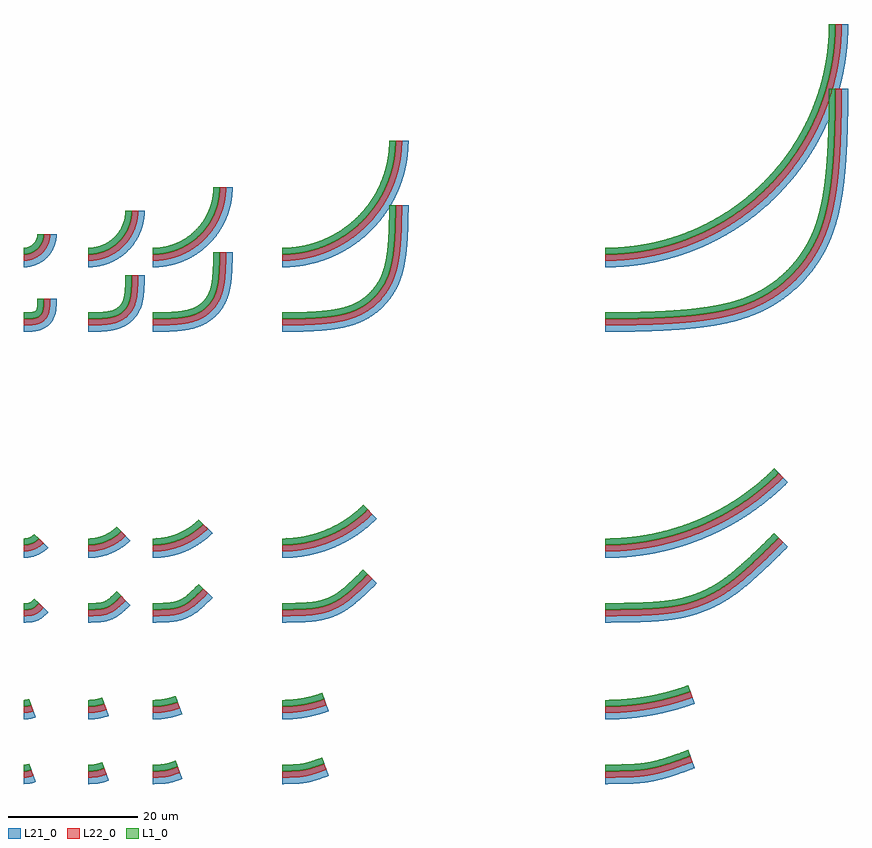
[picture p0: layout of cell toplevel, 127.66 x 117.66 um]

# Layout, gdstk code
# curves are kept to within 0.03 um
import gdstk
lib = gdstk.Library(unit=1e-6, precision=1e-09)
def P(c, l, *ps):  # polygons
    for p in ps: c.add(gdstk.Polygon(p, *l))
L1_0 = (1, 0)
L21_0 = (21, 0)
L22_0 = (22, 0)

unnamed = lib.new_cell('Unnamed')
P(unnamed, L1_0, [(0.561,1.552),(0,1.5),(0,0.5),(0.597,0.528),(1.168,0.706),(0.826,1.646)])
P(unnamed, L21_0, [(0.561,1.552),(0,1.5),(0,-1.5),(0.944,-1.441),(1.852,-1.173),(0.826,1.646)])
P(unnamed, L22_0, [(0.878,0.604),(0.467,0.511),(0,0.5),(0,-0.5),(0.771,-0.457),(1.51,-0.234),(1.168,0.706)])

wg_bend = lib.new_cell('WG bend')
P(wg_bend, L1_0, [(0,1.5),(0.387,1.531),(0.826,1.646),(1.168,0.706),(0.548,0.544),(0,0.5)])
P(wg_bend, L21_0, [(0,1.5),(0.387,1.531),(0.826,1.646),(1.852,-1.173),(1.012,-1.405),(0,-1.5)])
P(wg_bend, L22_0, [(0,0.5),(0.548,0.544),(1.168,0.706),(1.51,-0.234),(0.708,-0.443),(0,-0.5)])

unnamed002 = lib.new_cell('Unnamed002')
P(unnamed002, L1_0, [(1.598,1.682),(0.963,1.528),(0,1.5),(0,0.5),(1.281,0.564),(2.506,0.942),(2.164,1.882)])
P(unnamed002, L21_0, [(1.598,1.682),(0.963,1.528),(0,1.5),(0,-1.5),(0.996,-1.48),(1.628,-1.406),(2.308,-1.241),(3.19,-0.937),(2.164,1.882)])
P(unnamed002, L22_0, [(1.915,0.733),(1.079,0.534),(0,0.5),(0,-0.5),(0.881,-0.485),(1.455,-0.421),(2.015,-0.285),(2.848,0.002),(2.506,0.942)])

wg_bend003 = lib.new_cell('WG bend003')
P(wg_bend003, L1_0, [(0,1.5),(1.139,1.603),(2.164,1.882),(2.506,0.942),(1.226,0.603),(0,0.5)])
P(wg_bend003, L21_0, [(0,1.5),(1.139,1.603),(2.164,1.882),(3.191,-0.937),(2.385,-1.19),(1.56,-1.369),(0.843,-1.462),(0,-1.5)])
P(wg_bend003, L22_0, [(0,0.5),(1.226,0.603),(2.506,0.942),(2.849,0.002),(2.13,-0.223),(1.393,-0.383),(0,-0.5)])

unnamed004 = lib.new_cell('Unnamed004')
P(unnamed004, L1_0, [(2.788,1.863),(2.174,1.669),(1.636,1.56),(0,1.5),(0,0.5),(1.256,0.521),(1.965,0.6),(2.658,0.768),(3.845,1.178),(3.503,2.118)])
P(unnamed004, L21_0, [(2.788,1.863),(2.174,1.669),(1.636,1.56),(0,1.5),(0,-1.5),(1.361,-1.476),(2.312,-1.37),(3.158,-1.17),(4.529,-0.701),(3.503,2.118)])
P(unnamed004, L22_0, [(3.114,0.918),(2.34,0.679),(1.68,0.557),(0,0.5),(0,-0.5),(1.388,-0.473),(2.138,-0.385),(2.95,-0.188),(4.187,0.238),(3.845,1.178)])

wg_bend005 = lib.new_cell('WG bend005')
P(wg_bend005, L1_0, [(0,1.5),(0.893,1.539),(1.691,1.64),(2.565,1.826),(3.503,2.118),(3.845,1.178),(2.91,0.883),(2.049,0.688),(0.98,0.543),(0,0.5)])
P(wg_bend005, L21_0, [(0,1.5),(0.893,1.539),(1.691,1.64),(2.565,1.826),(3.503,2.118),(4.529,-0.701),(3.427,-1.049),(2.3,-1.299),(1.154,-1.45),(0,-1.5)])
P(wg_bend005, L22_0, [(0,0.5),(0.98,0.543),(2.049,0.688),(2.91,0.883),(3.845,1.178),(4.187,0.238),(3.169,-0.083),(2.126,-0.314),(1.173,-0.444),(0,-0.5)])

unnamed006 = lib.new_cell('Unnamed006')
P(unnamed006, L1_0, [(5.172,2.229),(3.883,1.816),(2.884,1.612),(1.927,1.528),(0,1.5),(0,0.5),(1.8,0.522),(2.82,0.595),(3.84,0.775),(4.925,1.088),(6.523,1.65),(6.181,2.59)])
P(unnamed006, L21_0, [(5.172,2.229),(3.883,1.816),(2.884,1.612),(1.927,1.528),(0,1.5),(0,-1.5),(2.216,-1.462),(3.68,-1.298),(5.111,-0.951),(7.207,-0.229),(6.181,2.59)])
P(unnamed006, L22_0, [(5.502,1.285),(4.222,0.872),(3.026,0.622),(1.8,0.522),(0,0.5),(0,-0.5),(1.724,-0.481),(2.94,-0.398),(4.067,-0.199),(5.132,0.104),(6.865,0.71),(6.523,1.65)])

wg_bend007 = lib.new_cell('WG bend007')
P(wg_bend007, L1_0, [(0,1.5),(1.667,1.577),(3.229,1.791),(4.767,2.14),(6.181,2.59),(6.523,1.65),(5.125,1.201),(3.601,0.843),(2.149,0.621),(0.489,0.506),(0,0.5)])
P(wg_bend007, L21_0, [(0,1.5),(1.667,1.577),(3.229,1.791),(4.767,2.14),(6.181,2.59),(7.207,-0.229),(5.454,-0.782),(3.659,-1.18),(1.836,-1.42),(0,-1.5)])
P(wg_bend007, L22_0, [(0,0.5),(1.76,0.581),(3.312,0.79),(5.03,1.175),(6.523,1.65),(6.865,0.71),(5.394,0.238),(3.789,-0.139),(2.262,-0.372),(0.721,-0.487),(0,-0.5)])

unnamed008 = lib.new_cell('Unnamed008')
P(unnamed008, L1_0, [(11.041,3.113),(8.154,2.184),(6.11,1.758),(4.978,1.624),(3.919,1.557),(0,1.5),(0,0.5),(2.84,0.523),(4.896,0.614),(6.456,0.8),(7.928,1.095),(9.904,1.668),(13.216,2.83),(12.874,3.77)])
P(unnamed008, L21_0, [(11.041,3.113),(8.154,2.184),(6.11,1.758),(4.978,1.624),(3.919,1.557),(0,1.5),(0,-1.5),(4.484,-1.418),(5.789,-1.309),(7.208,-1.1),(8.61,-0.797),(9.784,-0.468),(13.901,0.951),(12.874,3.77)])
P(unnamed008, L22_0, [(11.373,2.17),(8.413,1.218),(7.342,0.963),(6.258,0.769),(5.065,0.628),(3.848,0.553),(0,0.5),(0,-0.5),(2.744,-0.479),(4.776,-0.398),(6.302,-0.235),(7.957,0.074),(10.32,0.752),(13.558,1.891),(13.216,2.83)])

wg_bend009 = lib.new_cell('WG bend009')
P(wg_bend009, L1_0, [(0,1.5),(1.738,1.54),(3.281,1.643),(4.722,1.797),(6.441,2.055),(8.053,2.371),(9.556,2.733),(11.227,3.213),(12.874,3.77),(13.217,2.83),(11.146,2.142),(8.654,1.481),(6.319,1.02),(3.862,0.693),(1.785,0.541),(0,0.5)])
P(wg_bend009, L21_0, [(0,1.5),(1.738,1.54),(3.281,1.643),(4.722,1.797),(6.441,2.055),(8.053,2.371),(9.556,2.733),(11.227,3.213),(12.874,3.77),(13.901,0.951),(12.122,0.35),(10.317,-0.169),(8.797,-0.537),(6.955,-0.901),(5.201,-1.166),(3.334,-1.363),(1.669,-1.466),(0,-1.5)])
P(wg_bend009, L22_0, [(0,0.5),(1.785,0.541),(3.368,0.647),(5.24,0.857),(6.808,1.104),(8.364,1.416),(9.906,1.791),(11.62,2.288),(13.217,2.83),(13.559,1.891),(11.142,1.098),(8.779,0.484),(6.382,0.017),(3.962,-0.302),(2.034,-0.448),(0,-0.5)])

unnamed010 = lib.new_cell('Unnamed010')
P(unnamed010, L1_0, [(1.208,1.752),(1.034,1.611),(0.854,1.537),(0,1.5),(0,0.5),(0.847,0.527),(1.331,0.641),(1.71,0.868),(2.371,1.482),(1.664,2.189)])
P(unnamed010, L21_0, [(1.208,1.752),(1.034,1.611),(0.854,1.537),(0,1.5),(0,-1.5),(1.222,-1.442),(2.096,-1.206),(2.88,-0.755),(3.786,0.068),(1.664,2.189)])
P(unnamed010, L22_0, [(1.873,1.005),(1.506,0.728),(1.145,0.578),(0.69,0.515),(0,0.5),(0,-0.5),(0.857,-0.476),(1.404,-0.388),(1.862,-0.215),(2.388,0.13),(3.078,0.775),(2.371,1.482)])

wg_bend011 = lib.new_cell('WG bend011')
P(wg_bend011, L1_0, [(0,1.5),(0.429,1.539),(0.901,1.679),(1.333,1.914),(1.664,2.189),(2.371,1.482),(1.827,1.041),(1.283,0.755),(0.697,0.573),(0,0.5)])
P(wg_bend011, L21_0, [(0,1.5),(0.429,1.539),(0.901,1.679),(1.333,1.914),(1.664,2.189),(3.786,0.068),(2.916,-0.636),(2.049,-1.092),(1.113,-1.383),(0,-1.5)])
P(wg_bend011, L22_0, [(0,0.5),(0.697,0.573),(1.283,0.755),(1.827,1.041),(2.371,1.482),(3.079,0.775),(2.466,0.266),(1.771,-0.124),(1.127,-0.352),(0.342,-0.487),(0,-0.5)])

unnamed012 = lib.new_cell('Unnamed012')
P(unnamed012, L1_0, [(3.674,2.622),(2.943,2.003),(2.272,1.672),(1.518,1.541),(0,1.5),(0,0.5),(1.284,0.524),(2.052,0.596),(2.669,0.751),(3.291,1.04),(3.937,1.514),(5.096,2.611),(4.389,3.318)])
P(unnamed012, L21_0, [(3.674,2.622),(2.943,2.003),(2.272,1.672),(1.518,1.541),(0,1.5),(0,-1.5),(1.237,-1.48),(2.239,-1.398),(3.036,-1.231),(3.618,-1.027),(4.308,-0.683),(4.856,-0.314),(5.514,0.238),(6.511,1.197),(4.389,3.318)])
P(unnamed012, L22_0, [(4.357,1.892),(3.458,1.144),(3.032,0.901),(2.576,0.72),(2.128,0.609),(1.596,0.544),(0,0.5),(0,-0.5),(1.333,-0.474),(2.208,-0.392),(2.999,-0.193),(3.69,0.116),(4.586,0.753),(5.803,1.904),(5.096,2.611)])

wg_bend013 = lib.new_cell('WG bend013')
P(wg_bend013, L1_0, [(0,1.5),(1.211,1.619),(1.841,1.779),(2.45,2.004),(3.449,2.546),(4.389,3.318),(5.096,2.611),(4.312,1.932),(3.439,1.373),(2.495,0.945),(1.499,0.657),(0.753,0.539),(0,0.5)])
P(wg_bend013, L21_0, [(0,1.5),(1.211,1.619),(1.841,1.779),(2.45,2.004),(3.449,2.546),(4.389,3.318),(6.511,1.197),(5.888,0.628),(5.015,-0.015),(4.287,-0.441),(3.524,-0.799),(2.615,-1.121),(1.796,-1.323),(0.962,-1.45),(0,-1.5)])
P(wg_bend013, L22_0, [(0,0.5),(0.753,0.539),(1.499,0.657),(2.137,0.824),(2.845,1.085),(3.439,1.373),(4.004,1.715),(4.536,2.106),(5.096,2.611),(5.804,1.904),(4.911,1.131),(4.01,0.546),(3.041,0.084),(1.916,-0.273),(0.965,-0.443),(0,-0.5)])

unnamed014 = lib.new_cell('Unnamed014')
P(unnamed014, L1_0, [(6.132,3.488),(5.339,2.774),(4.77,2.34),(4.212,2.022),(3.614,1.787),(3.061,1.652),(2.438,1.572),(0,1.5),(0,0.5),(1.747,0.528),(2.981,0.627),(3.819,0.804),(4.643,1.12),(5.243,1.455),(5.894,1.935),(7.821,3.74),(7.114,4.447)])
P(unnamed014, L21_0, [(6.132,3.488),(5.339,2.774),(4.77,2.34),(4.212,2.022),(3.614,1.787),(3.061,1.652),(2.438,1.572),(0,1.5),(0,-1.5),(2.57,-1.427),(3.43,-1.328),(4.254,-1.151),(5.016,-0.897),(5.746,-0.564),(6.436,-0.154),(7.163,0.389),(8.104,1.224),(9.236,2.325),(7.114,4.447)])
P(unnamed014, L22_0, [(6.82,2.762),(5.981,2.007),(5.414,1.569),(4.731,1.163),(4.006,0.863),(3.343,0.687),(2.526,0.576),(0,0.5),(0,-0.5),(1.786,-0.471),(3.118,-0.363),(4.101,-0.155),(5.075,0.218),(5.784,0.614),(6.529,1.162),(7.42,1.953),(8.528,3.033),(7.821,3.74)])

wg_bend015 = lib.new_cell('WG bend015')
P(wg_bend015, L1_0, [(0,1.5),(0.964,1.546),(2.006,1.702),(2.858,1.914),(3.85,2.266),(4.801,2.719),(5.553,3.171),(6.332,3.742),(7.114,4.447),(7.821,3.74),(6.734,2.786),(5.531,1.982),(4.322,1.379),(3.049,0.928),(1.635,0.621),(0.868,0.534),(0,0.5)])
P(wg_bend015, L21_0, [(0,1.5),(0.964,1.546),(2.006,1.702),(2.858,1.914),(3.85,2.266),(4.801,2.719),(5.553,3.171),(6.332,3.742),(7.114,4.447),(9.236,2.326),(8.483,1.629),(7.492,0.862),(6.629,0.307),(5.623,-0.228),(4.574,-0.673),(3.49,-1.025),(2.268,-1.302),(1.252,-1.44),(0,-1.5)])
P(wg_bend015, L22_0, [(0,0.5),(1.06,0.551),(2.111,0.703),(3.142,0.955),(4.144,1.305),(5.193,1.795),(6.105,2.337),(7.036,3.026),(7.821,3.74),(8.528,3.033),(7.426,2.057),(6.212,1.223),(4.809,0.5),(3.426,-0.003),(1.783,-0.368),(0.841,-0.471),(0,-0.5)])

unnamed016 = lib.new_cell('Unnamed016')
P(unnamed016, L1_0, [(11.03,5.204),(9.767,4.049),(8.884,3.336),(7.982,2.746),(7.116,2.317),(5.954,1.918),(4.628,1.673),(2.674,1.539),(0,1.5),(0,0.5),(3.032,0.552),(4.746,0.68),(6.21,0.951),(7.509,1.397),(8.73,2.026),(9.871,2.835),(11.328,4.11),(13.271,5.997),(12.564,6.704)])
P(unnamed016, L21_0, [(11.03,5.204),(9.767,4.049),(8.643,3.163),(7.595,2.539),(6.543,2.097),(5.527,1.817),(4.212,1.63),(2.463,1.532),(0,1.5),(0,-1.5),(3.573,-1.424),(4.745,-1.332),(5.804,-1.185),(6.836,-0.951),(7.852,-0.62),(8.834,-0.195),(9.771,0.318),(10.781,1.009),(11.923,1.948),(14.685,4.583),(12.564,6.704)])
P(unnamed016, L22_0, [(11.72,4.48),(10.42,3.292),(9.384,2.463),(8.476,1.876),(7.509,1.397),(6.21,0.951),(4.746,0.68),(3.032,0.552),(0,0.5),(0,-0.5),(2.854,-0.456),(4.863,-0.313),(6.36,-0.043),(7.089,0.17),(7.901,0.477),(9.158,1.116),(10.407,1.984),(11.767,3.153),(13.978,5.29),(13.271,5.997)])

wg_bend017 = lib.new_cell('WG bend017')
P(wg_bend017, L1_0, [(0,1.5),(1.477,1.561),(2.853,1.73),(4.301,2.028),(5.719,2.445),(7.602,3.208),(9.386,4.181),(11.047,5.352),(12.564,6.704),(13.271,5.997),(12.418,5.195),(11.593,4.508),(9.914,3.332),(9.073,2.838),(7.942,2.263),(7.047,1.873),(5.948,1.467),(4.543,1.058),(3.013,0.743),(1.463,0.557),(0,0.5)])
P(wg_bend017, L21_0, [(0,1.5),(1.845,1.596),(3.58,1.864),(5.279,2.302),(6.842,2.87),(8.427,3.625),(9.929,4.533),(11.335,5.585),(12.564,6.704),(14.686,4.583),(13.578,3.553),(12.399,2.607),(11.154,1.749),(9.85,0.984),(8.395,0.272),(7.092,-0.252),(5.861,-0.656),(4.395,-1.03),(3.228,-1.248),(2.157,-1.388),(0,-1.5)])
P(wg_bend017, L22_0, [(0,0.5),(1.657,0.573),(3.109,0.759),(4.732,1.106),(6.133,1.53),(7.942,2.263),(9.073,2.838),(9.914,3.332),(11.593,4.508),(12.418,5.195),(13.271,5.997),(13.978,5.29),(13.233,4.582),(12.291,3.785),(11.469,3.167),(10.443,2.483),(8.551,1.445),(7.518,0.985),(6.46,0.585),(4.884,0.113),(3.376,-0.21),(1.95,-0.404),(0.308,-0.498),(0,-0.5)])

unnamed018 = lib.new_cell('Unnamed018')
P(unnamed018, L1_0, [(23.186,9.408),(20.494,6.945),(19.348,5.995),(18.227,5.153),(17.295,4.537),(16.163,3.891),(15.158,3.402),(14.126,2.974),(12.891,2.555),(11.63,2.224),(10.302,1.975),(8.915,1.8),(5.322,1.576),(0,1.5),(0,0.5),(5.561,0.584),(7.706,0.694),(9.23,0.828),(10.678,1.022),(12.041,1.293),(13.367,1.655),(14.572,2.074),(16.19,2.783),(17.821,3.687),(19.257,4.664),(20.898,5.975),(23.579,8.401),(26.896,11.641),(26.189,12.348)])
P(unnamed018, L21_0, [(23.186,9.408),(20.494,6.945),(19.183,5.865),(18.144,5.095),(17.056,4.392),(15.914,3.763),(14.731,3.216),(13.6,2.784),(12.443,2.427),(11.266,2.146),(10.074,1.941),(8.596,1.769),(4.915,1.563),(0,1.5),(0,-1.5),(3.55,-1.469),(6.257,-1.39),(8.41,-1.258),(10.371,-1.047),(12.078,-0.749),(13.755,-0.318),(15.291,0.208),(16.782,0.848),(18.033,1.492),(19.239,2.217),(20.343,2.98),(21.48,3.859),(22.96,5.116),(24.42,6.446),(28.31,10.227),(26.189,12.348)])
P(unnamed018, L22_0, [(23.951,8.756),(21.228,6.258),(19.97,5.212),(18.89,4.397),(17.821,3.687),(16.801,3.098),(15.658,2.531),(14.572,2.074),(13.367,1.655),(12.041,1.293),(10.678,1.022),(9.23,0.828),(7.706,0.694),(5.561,0.584),(0,0.5),(0,-0.5),(5.494,-0.419),(7.666,-0.311),(9.448,-0.154),(10.95,0.053),(12.17,0.296),(13.566,0.67),(14.931,1.141),(16.632,1.886),(18.259,2.782),(19.752,3.787),(21.459,5.14),(24.116,7.533),(27.603,10.934),(26.896,11.641)])

wg_bend019 = lib.new_cell('WG bend019')
P(wg_bend019, L1_0, [(0,1.5),(1.637,1.536),(3.367,1.653),(5.089,1.851),(6.705,2.112),(8.215,2.422),(9.896,2.846),(11.372,3.289),(13.009,3.86),(14.97,4.66),(16.711,5.484),(18.324,6.35),(20.053,7.398),(21.645,8.483),(23.253,9.709),(24.864,11.086),(26.189,12.348),(26.896,11.641),(25.462,10.279),(23.958,8.993),(22.39,7.788),(20.678,6.611),(18.904,5.53),(17.163,4.592),(15.375,3.746),(13.453,2.958),(11.113,2.159),(8.726,1.514),(6.399,1.042),(4.048,0.716),(1.978,0.551),(0,0.5)])
P(wg_bend019, L21_0, [(0,1.5),(1.829,1.545),(3.558,1.671),(5.28,1.878),(7.178,2.202),(8.871,2.578),(10.544,3.032),(12.466,3.661),(14.173,4.319),(15.933,5.102),(17.395,5.839),(18.989,6.738),(20.537,7.715),(22.034,8.767),(23.552,9.953),(24.864,11.086),(26.189,12.348),(28.31,10.227),(26.723,8.723),(24.729,7.05),(22.803,5.628),(20.617,4.216),(18.436,2.997),(16.183,1.916),(13.965,1.014),(11.796,0.277),(8.982,-0.48),(6.119,-1.03),(4.468,-1.25),(2.913,-1.394),(0,-1.5)])
P(wg_bend019, L22_0, [(0,0.5),(1.681,0.537),(3.457,0.657),(5.128,0.847),(6.692,1.093),(8.436,1.447),(10.067,1.856),(11.679,2.337),(13.453,2.958),(15.375,3.746),(17.163,4.592),(18.904,5.53),(20.678,6.611),(22.39,7.788),(23.958,8.993),(25.462,10.279),(26.896,11.641),(27.603,10.934),(25.98,9.4),(24.43,8.089),(22.814,6.86),(21.051,5.662),(19.225,4.562),(17.432,3.608),(15.593,2.749),(13.711,1.987),(11.405,1.203),(9.054,0.564),(6.568,0.056),(4.054,-0.289),(2.131,-0.442),(0,-0.5)])

unnamed020 = lib.new_cell('Unnamed020')
P(unnamed020, L1_0, [(2.09,2.667),(1.986,1.962),(1.898,1.797),(1.749,1.671),(1.161,1.543),(0,1.5),(0,0.5),(1.014,0.528),(1.689,0.609),(2.158,0.757),(2.568,1.048),(2.859,1.458),(3.007,1.927),(3.088,2.602),(3.116,3.616),(2.116,3.616)])
P(unnamed020, L21_0, [(2.09,2.667),(1.986,1.962),(1.898,1.797),(1.749,1.671),(1.161,1.543),(0,1.5),(0,-1.5),(1.145,-1.468),(1.867,-1.39),(2.43,-1.269),(3.026,-1.045),(3.533,-0.746),(3.982,-0.366),(4.362,0.083),(4.661,0.59),(4.884,1.185),(5.006,1.749),(5.084,2.471),(5.116,3.616),(2.116,3.616)])
P(unnamed020, L22_0, [(3.088,2.602),(2.937,1.653),(2.777,1.31),(2.568,1.048),(2.158,0.757),(1.689,0.609),(1.014,0.528),(0,0.5),(0,-0.5),(1.216,-0.46),(2.031,-0.339),(2.717,-0.079),(3.275,0.341),(3.695,0.899),(3.955,1.584),(4.076,2.4),(4.116,3.616),(3.116,3.616)])

wg_bend021 = lib.new_cell('WG bend021')
P(wg_bend021, L1_0, [(0,1.5),(0.354,1.53),(0.755,1.639),(1.126,1.824),(1.454,2.078),(1.726,2.392),(1.955,2.806),(2.075,3.203),(2.116,3.616),(3.116,3.616),(3.017,2.838),(2.727,2.109),(2.264,1.475),(1.731,1.025),(1.352,0.809),(0.946,0.647),(0.522,0.544),(0,0.5)])
P(wg_bend021, L21_0, [(0,1.5),(0.354,1.53),(0.755,1.639),(1.126,1.824),(1.454,2.078),(1.726,2.392),(1.955,2.806),(2.075,3.203),(2.116,3.616),(5.116,3.616),(5.066,2.901),(4.916,2.2),(4.67,1.526),(4.254,0.774),(3.815,0.207),(3.301,-0.293),(2.722,-0.716),(1.958,-1.111),(0.998,-1.402),(0,-1.5)])
P(wg_bend021, L22_0, [(0,0.5),(0.522,0.544),(0.946,0.647),(1.43,0.848),(1.874,1.126),(2.436,1.673),(2.807,2.264),(3.038,2.923),(3.116,3.616),(4.116,3.616),(4.013,2.7),(3.885,2.257),(3.657,1.727),(3.145,0.96),(2.475,0.327),(1.889,-0.041),(1.25,-0.306),(0.575,-0.46),(0,-0.5)])

unnamed022 = lib.new_cell('Unnamed022')
P(unnamed022, L1_0, [(5.693,5.513),(5.585,4.312),(5.398,3.461),(5.111,2.856),(4.688,2.359),(4.376,2.12),(4.032,1.933),(3.197,1.692),(1.822,1.544),(0,1.5),(0,0.5),(1.988,0.552),(3.476,0.728),(4.08,0.883),(4.521,1.058),(4.921,1.282),(5.357,1.616),(5.899,2.235),(6.248,2.878),(6.504,3.756),(6.648,4.816),(6.732,7.232),(5.732,7.232)])
P(unnamed022, L21_0, [(5.693,5.513),(5.585,4.312),(5.36,3.352),(4.998,2.695),(4.736,2.404),(4.431,2.157),(3.771,1.834),(2.92,1.647),(1.822,1.544),(0,1.5),(0,-1.5),(1.629,-1.468),(2.82,-1.387),(3.866,-1.234),(4.698,-1.019),(5.383,-0.747),(6.13,-0.316),(6.801,0.228),(7.289,0.756),(7.704,1.343),(7.979,1.849),(8.251,2.534),(8.433,3.209),(8.574,4.031),(8.668,5),(8.732,7.232),(5.732,7.232)])
P(unnamed022, L22_0, [(6.692,5.462),(6.556,4.046),(6.349,3.152),(6.174,2.71),(5.95,2.311),(5.357,1.616),(4.921,1.282),(4.521,1.058),(4.08,0.883),(3.476,0.728),(1.988,0.552),(0,0.5),(0,-0.5),(2.279,-0.43),(3.207,-0.332),(3.946,-0.193),(4.572,-0.005),(5.058,0.208),(5.564,0.508),(6.026,0.873),(6.585,1.478),(7.076,2.28),(7.363,3.05),(7.564,4.025),(7.684,5.297),(7.732,7.232),(6.732,7.232)])

wg_bend023 = lib.new_cell('WG bend023')
P(wg_bend023, L1_0, [(0,1.5),(1.03,1.593),(2.027,1.87),(2.889,2.281),(3.732,2.881),(4.137,3.264),(4.599,3.811),(4.951,4.343),(5.208,4.838),(5.441,5.43),(5.608,6.045),(5.705,6.675),(5.732,7.232),(6.732,7.232),(6.69,6.485),(6.566,5.747),(6.361,5.027),(6.077,4.335),(5.767,3.758),(5.345,3.14),(4.923,2.64),(4.383,2.122),(3.632,1.564),(2.812,1.115),(1.848,0.758),(0.933,0.565),(0,0.5)])
P(wg_bend023, L21_0, [(0,1.5),(0.636,1.535),(1.187,1.624),(2.249,1.959),(3.16,2.449),(4.025,3.151),(4.738,4.006),(5.067,4.552),(5.303,5.057),(5.624,6.123),(5.732,7.232),(8.732,7.232),(8.664,6.142),(8.46,5.07),(8.168,4.144),(7.719,3.149),(7.149,2.218),(6.467,1.365),(5.685,0.604),(4.813,-0.054),(3.647,-0.702),(2.513,-1.131),(1.21,-1.416),(0,-1.5)])
P(wg_bend023, L22_0, [(0,0.5),(1.118,0.593),(2.293,0.902),(3.393,1.418),(4.383,2.122),(4.923,2.64),(5.345,3.14),(5.767,3.758),(6.077,4.335),(6.361,5.027),(6.566,5.747),(6.69,6.485),(6.732,7.232),(7.732,7.232),(7.684,6.374),(7.564,5.631),(7.34,4.802),(7.025,4.002),(6.623,3.242),(6.14,2.532),(5.654,1.958),(5.034,1.363),(4.172,0.722),(3.327,0.252),(2.328,-0.141),(1.284,-0.393),(0,-0.5)])

unnamed024 = lib.new_cell('Unnamed024')
P(unnamed024, L1_0, [(9.294,8.348),(9.109,6.291),(8.949,5.454),(8.778,4.864),(8.518,4.255),(8.242,3.794),(7.863,3.311),(7.421,2.884),(6.926,2.521),(6.315,2.198),(5.662,1.969),(4.967,1.808),(4.034,1.67),(3.008,1.582),(0,1.5),(0,0.5),(2.967,0.577),(4.254,0.689),(5.263,0.846),(6.066,1.045),(6.799,1.319),(7.46,1.676),(8.065,2.119),(8.729,2.782),(9.362,3.712),(9.723,4.536),(10.023,5.696),(10.159,6.593),(10.264,7.776),(10.348,10.848),(9.348,10.848)])
P(unnamed024, L21_0, [(9.294,8.348),(9.153,6.606),(8.879,5.185),(8.68,4.604),(8.445,4.12),(8.154,3.668),(7.811,3.254),(7.302,2.787),(6.728,2.403),(6.08,2.104),(5.285,1.874),(4.452,1.723),(3.312,1.603),(0,1.5),(0,-1.5),(1.995,-1.468),(3.769,-1.37),(5.262,-1.187),(6.35,-0.953),(7.392,-0.603),(8.309,-0.148),(9.155,0.428),(10.003,1.206),(10.649,2.001),(11.181,2.875),(11.559,3.73),(11.866,4.754),(12.095,5.973),(12.228,7.198),(12.319,8.958),(12.348,10.848),(9.348,10.848)])
P(unnamed024, L22_0, [(10.293,8.301),(10.205,7.028),(10.081,6.029),(9.921,5.22),(9.723,4.536),(9.448,3.879),(9.069,3.231),(8.668,2.711),(8.137,2.18),(7.46,1.676),(6.799,1.319),(6.066,1.045),(5.263,0.846),(4.254,0.689),(2.967,0.577),(0,0.5),(0,-0.5),(3.245,-0.407),(4.493,-0.289),(5.593,-0.107),(6.506,0.135),(7.314,0.456),(7.994,0.83),(8.71,1.354),(9.493,2.138),(10.133,3.044),(10.575,3.957),(10.925,5.121),(11.105,6.114),(11.231,7.277),(11.316,8.886),(11.348,10.848),(10.348,10.848)])

wg_bend025 = lib.new_cell('WG bend025')
P(wg_bend025, L1_0, [(0,1.5),(0.863,1.54),(1.718,1.659),(2.558,1.857),(3.377,2.131),(4.167,2.48),(4.921,2.9),(5.702,3.44),(6.298,3.94),(6.966,4.614),(7.613,5.423),(8.124,6.224),(8.586,7.151),(8.917,8.041),(9.138,8.876),(9.3,9.899),(9.348,10.848),(10.348,10.848),(10.304,9.893),(10.135,8.759),(9.841,7.65),(9.466,6.668),(8.993,5.729),(8.483,4.921),(7.775,4.019),(7.042,3.265),(6.005,2.42),(4.952,1.762),(3.738,1.199),(2.555,0.82),(1.335,0.586),(0,0.5)])
P(wg_bend025, L21_0, [(0,1.5),(0.776,1.532),(1.548,1.629),(2.308,1.789),(3.052,2.012),(4.321,2.558),(5.067,2.992),(5.702,3.44),(6.487,4.117),(7.192,4.876),(7.808,5.708),(8.368,6.681),(8.807,7.714),(9.1,8.708),(9.3,9.899),(9.348,10.848),(12.348,10.848),(12.259,9.368),(12.02,8.021),(11.633,6.708),(11.104,5.446),(10.438,4.251),(9.5,2.959),(8.486,1.878),(7.441,0.994),(6.693,0.471),(5.808,-0.049),(4.988,-0.448),(3.924,-0.86),(3.049,-1.118),(2.044,-1.33),(1.026,-1.457),(0,-1.5)])
P(wg_bend025, L22_0, [(0,0.5),(0.955,0.544),(1.901,0.676),(2.832,0.895),(3.738,1.199),(4.612,1.585),(5.447,2.05),(6.236,2.59),(7.042,3.265),(7.775,4.019),(8.483,4.921),(8.993,5.729),(9.466,6.668),(9.841,7.65),(10.135,8.759),(10.304,9.893),(10.348,10.848),(11.348,10.848),(11.278,9.592),(11.093,8.454),(10.76,7.242),(10.381,6.264),(9.81,5.144),(9.181,4.178),(8.526,3.359),(7.645,2.462),(6.585,1.606),(5.338,0.834),(4.099,0.266),(2.802,-0.149),(1.464,-0.405),(0,-0.5)])

unnamed026 = lib.new_cell('Unnamed026')
P(unnamed026, L1_0, [(16.495,14.012),(16.368,12.024),(16.174,10.356),(15.91,8.953),(15.544,7.689),(15.103,6.669),(14.532,5.714),(13.842,4.842),(12.979,4.013),(12.007,3.313),(10.947,2.757),(9.813,2.349),(8.438,2.025),(6.917,1.799),(5.068,1.638),(2.678,1.536),(0,1.5),(0,0.5),(2.805,0.539),(5.132,0.64),(7.13,0.817),(8.837,1.084),(10.206,1.423),(11.436,1.88),(12.533,2.463),(13.545,3.184),(14.118,3.691),(14.648,4.243),(15.515,5.385),(15.904,6.043),(16.239,6.731),(16.752,8.204),(17.113,9.889),(17.381,12.134),(17.525,14.774),(17.58,18.08),(16.58,18.08)])
P(unnamed026, L21_0, [(16.495,14.012),(16.368,12.024),(16.189,10.457),(15.954,9.147),(15.635,7.957),(15.252,6.976),(14.721,6),(14.067,5.101),(13.363,4.354),(12.436,3.596),(11.258,2.9),(10.122,2.444),(8.739,2.084),(7.114,1.823),(5.268,1.651),(2.678,1.536),(0,1.5),(0,-1.5),(3.168,-1.451),(6.004,-1.303),(8.053,-1.078),(9.924,-0.725),(11.401,-0.289),(12.881,0.36),(14.07,1.078),(15.335,2.09),(16.145,2.917),(16.935,3.915),(17.554,4.893),(18.117,6.035),(18.53,7.161),(18.832,8.272),(19.106,9.684),(19.317,11.342),(19.493,13.882),(19.58,18.08),(16.58,18.08)])
P(unnamed026, L22_0, [(17.494,13.969),(17.364,11.936),(17.147,10.102),(16.86,8.623),(16.45,7.255),(15.904,6.043),(15.245,4.99),(14.454,4.031),(13.619,3.245),(12.695,2.565),(11.523,1.919),(10.319,1.458),(8.837,1.084),(7.13,0.817),(5.132,0.64),(2.805,0.539),(0,0.5),(0,-0.5),(2.631,-0.466),(5.509,-0.337),(7.358,-0.162),(9.142,0.125),(10.619,0.503),(11.846,0.968),(13.059,1.612),(14.178,2.409),(15.326,3.501),(16.297,4.753),(16.734,5.477),(17.112,6.233),(17.427,7.016),(17.686,7.828),(18.1,9.727),(18.369,11.951),(18.521,14.64),(18.58,18.08),(17.58,18.08)])

wg_bend027 = lib.new_cell('WG bend027')
P(wg_bend027, L1_0, [(0,1.5),(1.47,1.565),(3.11,1.794),(4.631,2.16),(6.196,2.701),(7.617,3.353),(8.971,4.136),(10.317,5.101),(11.427,6.067),(12.387,7.059),(13.26,8.127),(14.091,9.342),(14.768,10.544),(15.545,12.313),(16.11,14.16),(16.319,15.15),(16.478,16.243),(16.58,18.08),(17.58,18.08),(17.492,16.326),(17.23,14.59),(16.767,12.796),(16.118,11.06),(15.337,9.488),(14.404,8.001),(13.263,6.541),(12.045,5.275),(10.475,3.961),(8.93,2.937),(7.109,2.001),(5.377,1.342),(4.156,0.998),(2.818,0.727),(1.365,0.553),(0,0.5)])
P(wg_bend027, L21_0, [(0,1.5),(1.379,1.557),(2.839,1.745),(4.187,2.037),(5.68,2.503),(7.123,3.108),(8.343,3.752),(9.581,4.548),(10.743,5.451),(12.076,6.719),(13.205,8.054),(14.187,9.499),(15.05,11.124),(15.699,12.747),(16.193,14.519),(16.488,16.334),(16.58,18.08),(19.58,18.08),(19.471,16.019),(19.327,14.942),(19.123,13.874),(18.574,11.885),(18.202,10.864),(17.773,9.865),(16.81,8.04),(15.66,6.326),(14.261,4.664),(13.495,3.893),(12.687,3.166),(11.666,2.355),(10.502,1.555),(9.284,0.841),(8.017,0.216),(6.81,-0.278),(5.364,-0.751),(3.993,-1.089),(2.601,-1.327),(1.303,-1.457),(0,-1.5)])
P(wg_bend027, L22_0, [(0,0.5),(1.656,0.578),(3.298,0.812),(5.004,1.227),(6.479,1.737),(7.903,2.376),(9.43,3.243),(10.862,4.257),(12.116,5.342),(13.134,6.394),(14.06,7.527),(14.837,8.65),(15.615,10.003),(16.118,11.06),(16.482,11.965),(16.853,13.076),(17.104,14.018),(17.449,15.938),(17.553,17.104),(17.58,18.08),(18.58,18.08),(18.487,16.226),(18.168,14.19),(17.721,12.495),(17.034,10.661),(16.159,8.909),(15.164,7.343),(14.017,5.884),(12.731,4.547),(11.153,3.22),(9.527,2.128),(7.701,1.171),(6.751,0.77),(5.683,0.39),(4.192,-0.021),(2.774,-0.292),(1.339,-0.452),(0,-0.5)])

unnamed028 = lib.new_cell('Unnamed028')
P(unnamed028, L1_0, [(34.494,28.069),(34.23,23.917),(33.798,20.27),(33.521,18.683),(33.164,17.081),(32.85,15.94),(32.43,14.682),(31.982,13.578),(31.455,12.488),(30.809,11.356),(30.03,10.196),(29.226,9.17),(28.416,8.27),(27.618,7.488),(26.629,6.638),(25.66,5.913),(24.883,5.4),(23.918,4.836),(22.92,4.332),(21.961,3.915),(20.901,3.526),(19.732,3.168),(18.516,2.86),(16.783,2.509),(14.996,2.232),(11.259,1.85),(6.495,1.606),(0,1.5),(0,0.5),(5.724,0.582),(10.633,0.803),(14.623,1.175),(17.771,1.677),(19.322,2.025),(20.712,2.414),(21.926,2.829),(22.987,3.263),(24.136,3.819),(25.246,4.449),(26.232,5.093),(27.254,5.857),(28.296,6.753),(29.34,7.791),(30.302,8.906),(31.122,10.008),(31.912,11.251),(32.563,12.461),(33.131,13.724),(33.648,15.142),(34.229,17.226),(34.722,19.711),(35.089,22.437),(35.363,25.626),(35.583,30.636),(35.659,36.159),(34.659,36.159),(34.615,31.962)])
P(unnamed028, L21_0, [(34.494,28.069),(34.23,23.917),(33.843,20.567),(33.578,18.98),(33.278,17.55),(32.937,16.236),(32.534,14.969),(32.13,13.92),(31.583,12.737),(30.954,11.595),(30.352,10.653),(29.637,9.676),(28.859,8.748),(28.023,7.873),(27.131,7.054),(26.113,6.24),(25.118,5.55),(24.081,4.926),(22.92,4.332),(21.768,3.839),(20.611,3.431),(19.359,3.067),(17.764,2.696),(16.187,2.408),(14.4,2.155),(10.467,1.794),(5.496,1.576),(0,1.5),(0,-1.5),(6.39,-1.399),(11.176,-1.164),(15.187,-0.769),(17.093,-0.482),(18.676,-0.178),(20.329,0.221),(21.746,0.645),(22.966,1.086),(24.291,1.661),(25.636,2.359),(26.838,3.09),(27.99,3.897),(29.086,4.779),(30.429,6.037),(31.59,7.321),(32.706,8.783),(33.639,10.242),(34.357,11.576),(35.117,13.306),(35.723,15.076),(36.223,16.97),(36.566,18.639),(36.886,20.656),(37.131,22.732),(37.316,24.881),(37.469,27.432),(37.574,30.276),(37.659,36.159),(34.659,36.159),(34.615,31.962)])
P(unnamed028, L22_0, [(35.498,28.127),(35.226,23.829),(34.802,20.219),(34.522,18.592),(34.206,17.129),(33.808,15.652),(33.368,14.336),(32.896,13.172),(32.34,12.023),(31.659,10.83),(30.896,9.687),(30.054,8.601),(29.205,7.648),(28.296,6.753),(27.254,5.857),(26.392,5.206),(25.413,4.552),(24.396,3.958),(23.344,3.426),(22.334,2.987),(21.321,2.612),(20.097,2.232),(18.837,1.908),(17.161,1.561),(15.333,1.269),(13.325,1.028),(11.133,0.838),(6.327,0.6),(0,0.5),(0,-0.5),(5.955,-0.412),(10.6,-0.201),(14.643,0.17),(16.4,0.417),(18.166,0.737),(19.666,1.081),(20.902,1.426),(22.064,1.814),(23.393,2.349),(24.601,2.934),(25.679,3.542),(26.804,4.273),(27.959,5.141),(29.05,6.088),(30.001,7.034),(31.018,8.2),(31.945,9.44),(32.776,10.746),(33.46,12.019),(34.1,13.453),(34.599,14.833),(35.202,16.995),(35.674,19.341),(36.072,22.227),(36.347,25.357),(36.58,30.507),(36.659,36.159),(35.659,36.159),(35.613,31.841)])

wg_bend029 = lib.new_cell('WG bend029')
P(wg_bend029, L1_0, [(0,1.5),(1.632,1.538),(3.451,1.672),(4.881,1.845),(6.585,2.131),(8.18,2.479),(9.756,2.901),(11.402,3.429),(13.108,4.074),(14.604,4.727),(16.068,5.449),(17.496,6.24),(18.965,7.149),(20.31,8.074),(21.535,9.002),(22.934,10.172),(24.132,11.281),(25.342,12.515),(26.365,13.661),(27.336,14.851),(28.253,16.083),(29.063,17.274),(29.968,18.747),(30.71,20.092),(31.473,21.642),(32.193,23.318),(32.855,25.121),(33.39,26.865),(33.833,28.634),(34.182,30.425),(34.447,32.326),(34.601,34.144),(34.659,36.159),(35.659,36.159),(35.62,34.481),(35.492,32.707),(35.276,30.942),(34.933,28.997),(34.557,27.36),(34.046,25.554),(33.475,23.87),(32.821,22.217),(32.085,20.598),(31.317,19.105),(30.428,17.565),(29.519,16.153),(28.485,14.707),(27.317,13.238),(26.207,11.977),(24.899,10.632),(23.447,9.292),(22.001,8.096),(20.494,6.977),(18.93,5.939),(17.314,4.985),(15.561,4.074),(14.033,3.377),(12.289,2.684),(10.133,1.97),(7.839,1.372),(5.705,0.959),(3.452,0.667),(1.777,0.544),(0,0.5)])
P(wg_bend029, L21_0, [(0,1.5),(1.632,1.538),(3.069,1.636),(4.881,1.845),(6.396,2.095),(7.806,2.39),(9.387,2.795),(10.947,3.274),(12.484,3.826),(13.904,4.411),(15.297,5.058),(16.912,5.906),(18.318,6.736),(19.683,7.631),(21.004,8.589),(22.279,9.609),(23.504,10.687),(24.744,11.89),(26.114,13.37),(27.158,14.625),(28.253,16.083),(29.167,17.436),(30.159,19.08),(30.973,20.604),(31.71,22.167),(32.368,23.765),(32.975,25.486),(33.491,27.235),(33.934,29.104),(34.258,30.899),(34.497,32.804),(34.621,34.528),(34.659,36.159),(37.659,36.159),(37.613,34.282),(37.462,32.306),(37.191,30.237),(36.828,28.289),(36.363,26.362),(35.797,24.462),(35.132,22.595),(34.454,20.956),(33.607,19.165),(32.666,17.42),(31.635,15.727),(30.516,14.091),(29.313,12.516),(28.098,11.085),(26.74,9.641),(25.385,8.341),(23.724,6.912),(21.983,5.582),(20.08,4.3),(18.194,3.186),(16.152,2.139),(14.243,1.297),(12.093,0.494),(9.898,-0.176),(7.36,-0.774),(4.993,-1.168),(2.398,-1.424),(0,-1.5)])
P(wg_bend029, L22_0, [(0,0.5),(1.777,0.544),(3.452,0.667),(5.119,0.869),(6.872,1.168),(8.608,1.554),(10.133,1.97),(11.824,2.517),(13.395,3.111),(15.026,3.82),(16.619,4.609),(18.256,5.527),(19.513,6.312),(21.056,7.38),(22.31,8.341),(23.521,9.357),(24.899,10.632),(26.207,11.977),(27.253,13.162),(28.185,14.314),(29.239,15.746),(30.115,17.062),(30.931,18.415),(31.687,19.803),(32.381,21.223),(33.122,22.948),(33.771,24.709),(34.327,26.501),(34.809,28.417),(35.168,30.259),(35.441,32.216),(35.605,34.185),(35.659,36.159),(36.659,36.159),(36.609,34.231),(36.467,32.408),(36.235,30.595),(35.892,28.696),(35.501,27.015),(35.001,25.257),(34.449,23.621),(33.781,21.92),(33.029,20.253),(32.195,18.627),(31.387,17.217),(30.289,15.508),(29.284,14.105),(28.083,12.595),(26.942,11.299),(25.67,9.987),(24.333,8.74),(22.857,7.498),(21.152,6.217),(19.633,5.2),(17.977,4.21),(16.453,3.399),(14.613,2.538),(12.824,1.816),(10.611,1.069),(8.454,0.488),(6.066,0.005),(3.751,-0.308),(2.03,-0.444),(0,-0.5)])

toplevel = lib.new_cell('toplevel')
toplevel.add(gdstk.Reference(unnamed, (10,20)))
toplevel.add(gdstk.Reference(wg_bend, (10,30)))
toplevel.add(gdstk.Reference(unnamed002, (20,20)))
toplevel.add(gdstk.Reference(wg_bend003, (20,30)))
toplevel.add(gdstk.Reference(unnamed004, (30,20)))
toplevel.add(gdstk.Reference(wg_bend005, (30,30)))
toplevel.add(gdstk.Reference(unnamed006, (50,20)))
toplevel.add(gdstk.Reference(wg_bend007, (50,30)))
toplevel.add(gdstk.Reference(unnamed008, (100,20)))
toplevel.add(gdstk.Reference(wg_bend009, (100,30)))
toplevel.add(gdstk.Reference(unnamed010, (10,45)))
toplevel.add(gdstk.Reference(wg_bend011, (10,55)))
toplevel.add(gdstk.Reference(unnamed012, (20,45)))
toplevel.add(gdstk.Reference(wg_bend013, (20,55)))
toplevel.add(gdstk.Reference(unnamed014, (30,45)))
toplevel.add(gdstk.Reference(wg_bend015, (30,55)))
toplevel.add(gdstk.Reference(unnamed016, (50,45)))
toplevel.add(gdstk.Reference(wg_bend017, (50,55)))
toplevel.add(gdstk.Reference(unnamed018, (100,45)))
toplevel.add(gdstk.Reference(wg_bend019, (100,55)))
toplevel.add(gdstk.Reference(unnamed020, (10,90)))
toplevel.add(gdstk.Reference(wg_bend021, (10,100)))
toplevel.add(gdstk.Reference(unnamed022, (20,90)))
toplevel.add(gdstk.Reference(wg_bend023, (20,100)))
toplevel.add(gdstk.Reference(unnamed024, (30,90)))
toplevel.add(gdstk.Reference(wg_bend025, (30,100)))
toplevel.add(gdstk.Reference(unnamed026, (50,90)))
toplevel.add(gdstk.Reference(wg_bend027, (50,100)))
toplevel.add(gdstk.Reference(unnamed028, (100,90)))
toplevel.add(gdstk.Reference(wg_bend029, (100,100)))

lib.write_gds('toplevel.gds')
